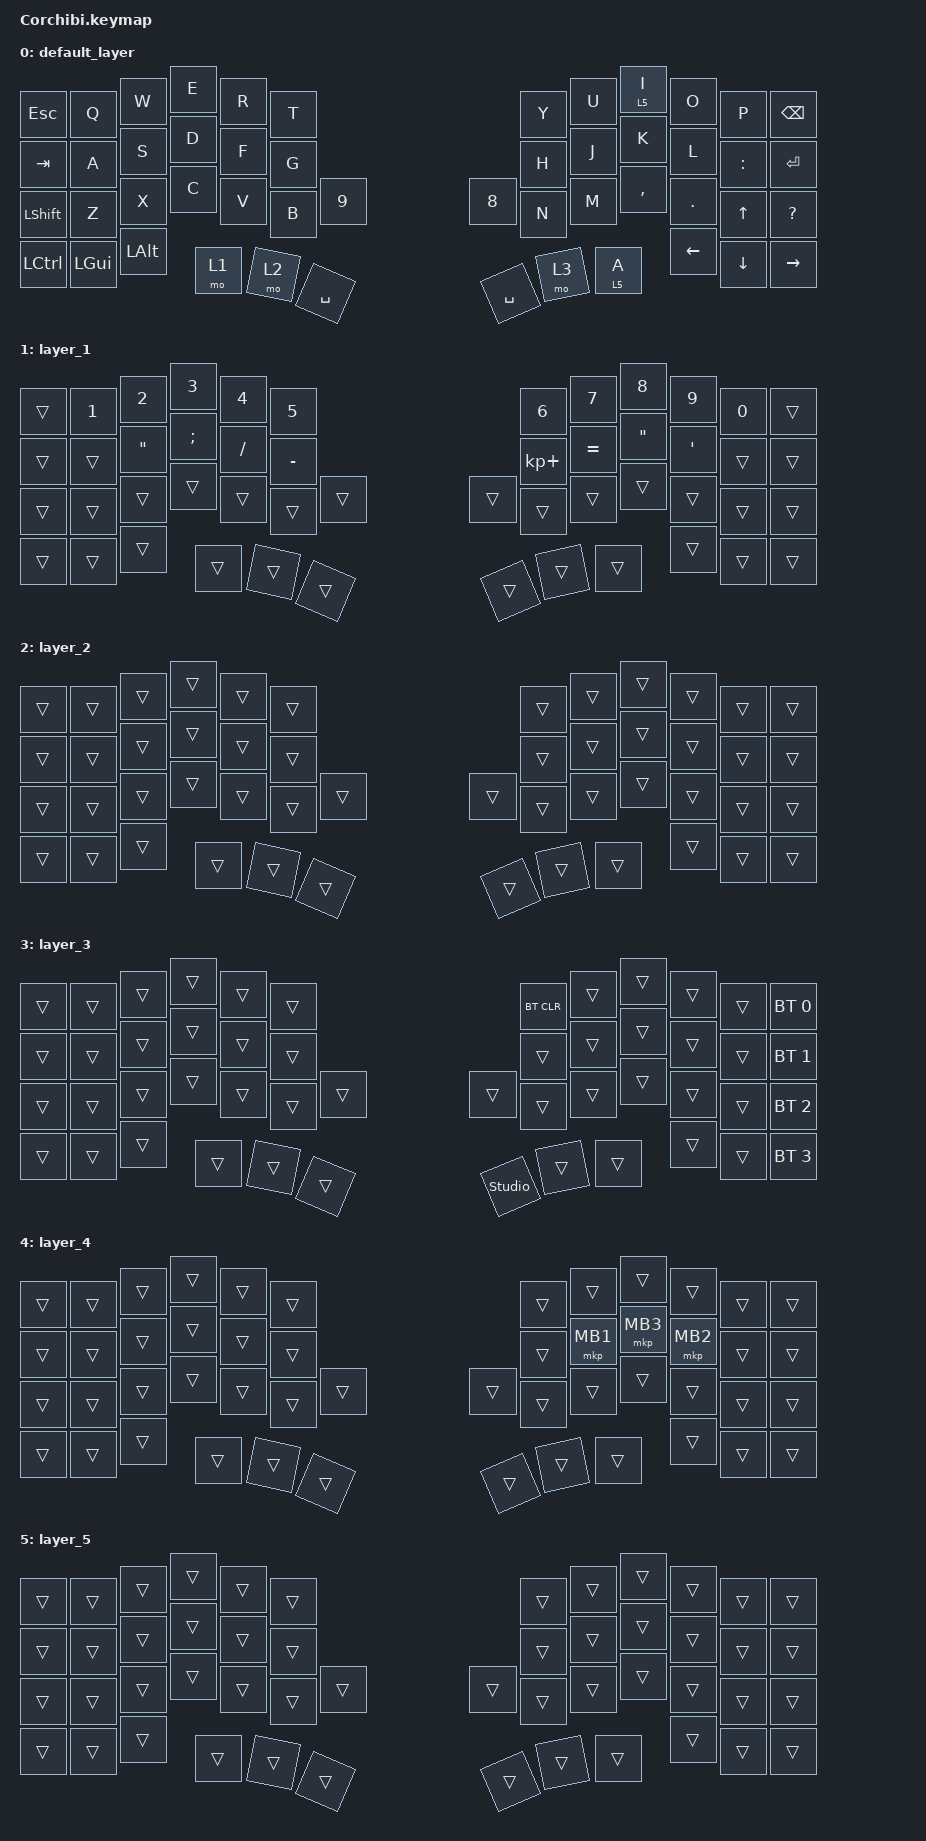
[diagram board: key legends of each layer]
#include <dt-bindings/zmk/mouse.h>
#include <behaviors.dtsi>
#include <dt-bindings/zmk/bt.h>
#include <dt-bindings/zmk/keys.h>
#include <dt-bindings/zmk/pointing.h>

/ {
    behaviors {
        TB1_mouse: TB1_mouse {
            compatible = "zmk,behavior-none";
            label = "TB19M";
            #binding-cells = <0>;
        };

        TB1_scroll: TB1_scroll {
            compatible = "zmk,behavior-none";
            #binding-cells = <0>;
        };

        TB2_mouse: TB2_mouse {
            compatible = "zmk,behavior-none";
            #binding-cells = <0>;
        };

        TB2_scroll: TB2_scroll {
            compatible = "zmk,behavior-none";
            #binding-cells = <0>;
        };
    };

    keymap {
        compatible = "zmk,keymap";

        default_layer {
            bindings = <
&kp ESC  &kp Q  &kp W  &kp E  &kp R  &kp T  &kp Y  &kp U  &lt 5 I  &kp O  &kp P  &kp BSPC
&kp TAB  &kp A  &kp S  &kp D  &kp F  &kp G  &kp H  &kp J  &kp K  &kp L  &kp COLON  &kp RET
&kp LSHFT  &kp Z  &kp X  &kp C  &kp V  &kp B  &kp N9  &kp N8  &kp N  &kp M  &kp COMMA  &kp DOT  &kp UP  &kp QMARK
&kp LCTRL  &kp LGUI  &kp LALT  &mo 1  &mo 2  &kp SPACE  &kp SPACE  &mo 3  &lt 5 A  &kp LEFT  &kp DOWN  &kp RIGHT
            >;
        };

        layer_1 {
            bindings = <
&trans  &kp NUMBER_1  &kp NUMBER_2  &kp NUMBER_3  &kp NUMBER_4  &kp NUMBER_5  &kp NUMBER_6  &kp NUMBER_7  &kp N8  &kp NUMBER_9  &kp NUMBER_0  &trans
&trans  &trans  &kp DOUBLE_QUOTES  &kp SEMICOLON  &kp SLASH  &kp MINUS  &kp KP_PLUS  &kp EQUAL  &kp DOUBLE_QUOTES  &kp SQT  &trans  &trans
&trans  &trans  &trans  &trans  &trans  &trans  &trans  &trans  &trans  &trans  &trans  &trans  &trans  &trans
&trans  &trans  &trans  &trans  &trans  &trans  &trans  &trans  &trans  &trans  &trans  &trans
            >;
        };

        layer_2 {
            bindings = <
&trans  &trans  &trans  &trans  &trans  &trans  &trans  &trans  &trans  &trans  &trans  &trans
&trans  &trans  &trans  &trans  &trans  &trans  &trans  &trans  &trans  &trans  &trans  &trans
&trans  &trans  &trans  &trans  &trans  &trans  &trans  &trans  &trans  &trans  &trans  &trans  &trans  &trans
&trans  &trans  &trans  &trans  &trans  &trans  &trans  &trans  &trans  &trans  &trans  &trans
            >;
        };

        layer_3 {
            bindings = <
&trans  &trans  &trans  &trans  &trans  &trans  &bt BT_CLR  &trans  &trans  &trans  &trans  &bt BT_SEL 0
&trans  &trans  &trans  &trans  &trans  &trans  &trans  &trans  &trans  &trans  &trans  &bt BT_SEL 1
&trans  &trans  &trans  &trans  &trans  &trans  &trans  &trans  &trans  &trans  &trans  &trans  &trans  &bt BT_SEL 2
&trans  &trans  &trans  &trans  &trans  &trans  &studio_unlock  &trans  &trans  &trans  &trans  &bt BT_SEL 3
            >;
        };

        layer_4 {
            bindings = <
&trans  &trans  &trans  &trans  &trans  &trans  &trans  &trans  &trans  &trans  &trans  &trans
&trans  &trans  &trans  &trans  &trans  &trans  &trans  &mkp MB1  &mkp MB3  &mkp MB2  &trans  &trans
&trans  &trans  &trans  &trans  &trans  &trans  &trans  &trans  &trans  &trans  &trans  &trans  &trans  &trans
&trans  &trans  &trans  &trans  &trans  &trans  &trans  &trans  &trans  &trans  &trans  &trans
            >;
        };

        layer_5 {
            bindings = <
&trans  &trans  &trans  &trans  &trans  &trans  &trans  &trans  &trans  &trans  &trans  &trans
&trans  &trans  &trans  &trans  &trans  &trans  &trans  &trans  &trans  &trans  &trans  &trans
&trans  &trans  &trans  &trans  &trans  &trans  &trans  &trans  &trans  &trans  &trans  &trans  &trans  &trans
&trans  &trans  &trans  &trans  &trans  &trans  &trans  &trans  &trans  &trans  &trans  &trans
            >;
        };
    };
};
// force trigger build
// apply DYA studio fixes
// fix central role and remove advertising config
// fix missing BLE central role
// slim down R config and fix endpoints
// bypass compiler strict warnings for auto_mouse_layer
// fix endpoint count by forcing central role
// remove invalid cmake configs
// remove undefined moNa2 configs
